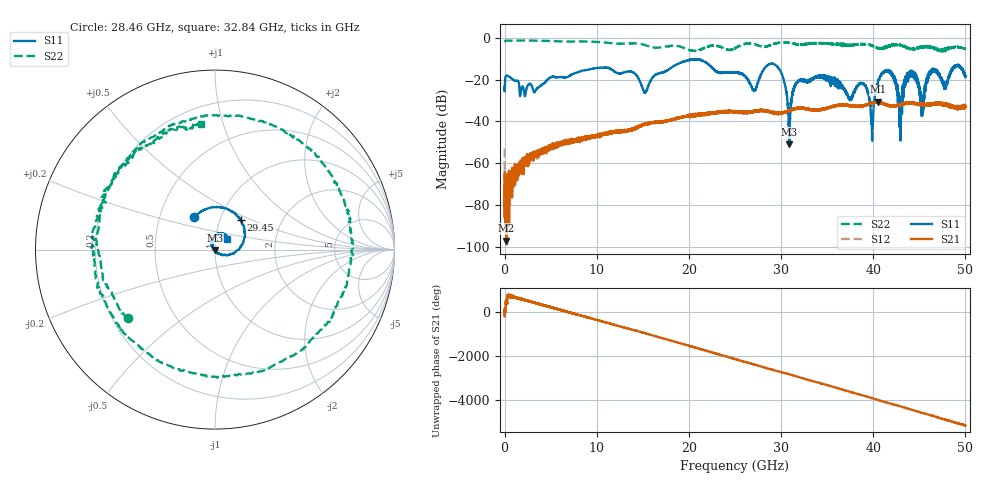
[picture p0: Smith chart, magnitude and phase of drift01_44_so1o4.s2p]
!Created with skrf (http://scikit-rf.org).
# Hz S RI R 50.0
!freq ReS11 ImS11 ReS21 ImS21 ReS12 ImS12 ReS22 ImS22
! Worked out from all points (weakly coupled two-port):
!   10001 points, 300 kHz to 50 GHz, reference 50 ohm
!   highest |S21| = -30.62 dB at 40.53 GHz (marker M1); lowest = -96.8 dB at 205.3 MHz (marker M2)
!   lowest |S11| = -51.0 dB at 30.87 GHz (marker M3), VSWR 1.01, Z = 49.9 - j0.251 ohm
!   |S11| at or under -10 dB: start of sweep to end of sweep
!   |S22| runs from -6.7 to -1.4 dB; largest |S21 - S12| = 0.004
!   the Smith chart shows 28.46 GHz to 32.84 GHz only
!   S11 on the Smith chart (normalised r, x): 28.46 GHz: 0.75, +0.28; 29.45 GHz: 1.25, +0.43; 32.84 GHz: 1.14, +0.14
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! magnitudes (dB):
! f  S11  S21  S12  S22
! 300 kHz  -23.5  -64.1  -53.0  -2.1
! 205.3 MHz  -18.1  -96.8  -77.2  -1.4
! 2.99 GHz  -23.4  -55.1  -55.3  -1.4
! 8.335 GHz  -15.9  -48.0  -48.8  -1.8
! 15.23 GHz  -26.2  -41.3  -41.2  -3.6
! 16.67 GHz  -17.0  -40.5  -40.2  -4.8
! 25 GHz  -16.6  -35.2  -35.4  -5.1
! 27.11 GHz  -25.1  -35.1  -35.0  -3.1
! 28.46 GHz  -13.4  -35.1  -35.0  -4.2
! 29.45 GHz  -13.2  -35.8  -35.9  -2.7
! 30.87 GHz  -51.0  -34.7  -34.9  -2.5
! 32.84 GHz  -20.7  -34.2  -33.8  -3.1
! 33.34 GHz  -19.8  -34.6  -34.2  -2.7
! 38.92 GHz  -22.1  -32.4  -32.6  -3.0
! 39.87 GHz  -45.8  -31.0  -31.3  -3.7
! 40.53 GHz  -21.1  -30.6  -31.0  -5.2
! 41.67 GHz  -16.2  -32.3  -32.4  -4.3
! 42.92 GHz  -32.6  -32.2  -32.3  -3.5
! 44.07 GHz  -16.9  -31.2  -31.3  -5.3
! 45.31 GHz  -33.1  -32.1  -32.1  -4.4
! 46.42 GHz  -15.8  -31.6  -32.0  -4.6
! 50 GHz  -18.3  -32.6  -32.9  -5.4
